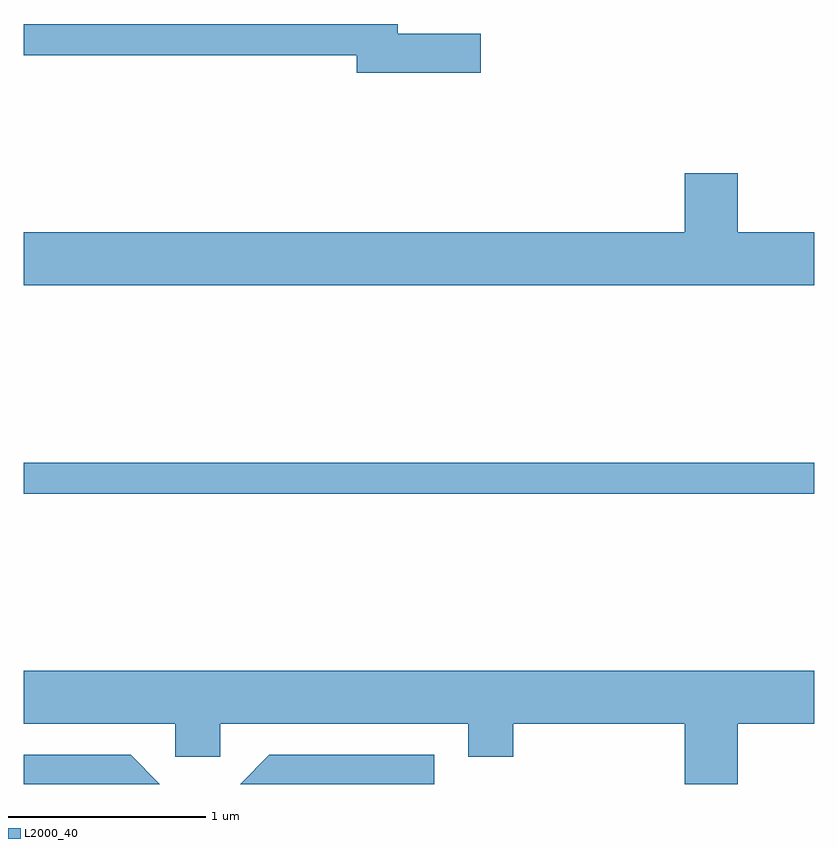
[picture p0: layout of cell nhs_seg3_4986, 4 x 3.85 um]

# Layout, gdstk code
import gdstk
lib = gdstk.Library(unit=1e-6, precision=1e-09)
def R(c, l, rs):  # rectangles x0, y0, x1, y1
    for r in rs: c.add(gdstk.rectangle(r[:2], r[2:], *l))
def P(c, l, *ps):  # polygons
    for p in ps: c.add(gdstk.Polygon(p, *l))
L2000_40 = (2000, 40)

nhs_seg3_4986 = lib.new_cell('nhs_seg3_4986')
R(nhs_seg3_4986, L2000_40, [(331.611,1169.361,335.611,1169.519)])
P(nhs_seg3_4986, L2000_40, [(333.924,1171.689),(333.504,1171.689),(333.504,1171.739),(331.611,1171.739),(331.611,1171.581),(333.296,1171.581),(333.296,1171.491),(333.924,1171.491)],
  [(335.611,1170.684),(335.224,1170.684),(335.224,1170.984),(334.956,1170.984),(334.956,1170.684),(331.611,1170.684),(331.611,1170.416),(335.611,1170.416)],
  [(335.224,1168.196),(335.611,1168.196),(335.611,1168.464),(331.611,1168.464),(331.611,1168.196),(332.376,1168.196),(332.376,1168.031),(332.604,1168.031),(332.604,1168.196),(333.861,1168.196),(333.861,1168.031),(334.089,1168.031),(334.089,1168.196),(334.956,1168.196),(334.956,1167.892),(335.224,1167.892)],
  [(333.689,1168.039),(332.854,1168.039),(332.707,1167.892),(333.689,1167.892)],
  [(332.152,1168.039),(331.611,1168.039),(331.611,1167.892),(332.299,1167.892)])

lib.write_gds('nhs_seg3_4986.gds')
